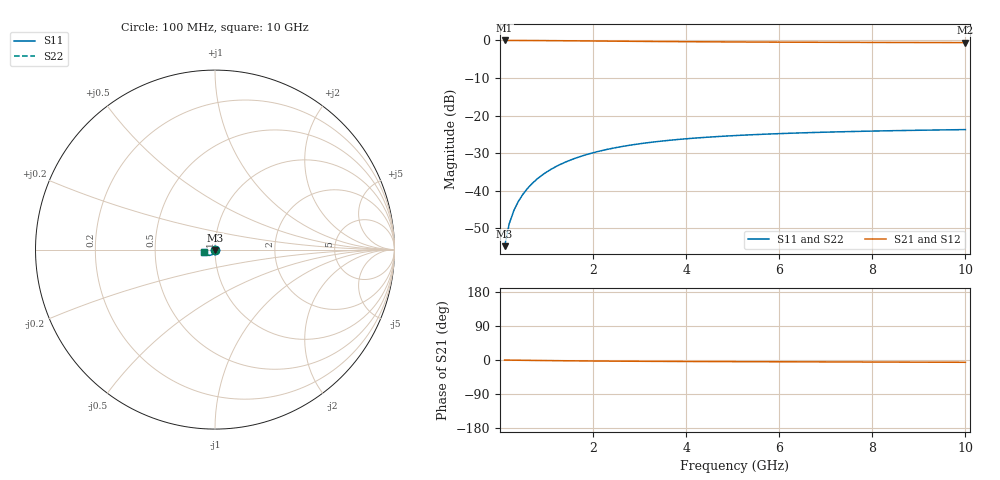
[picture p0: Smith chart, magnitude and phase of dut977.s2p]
! Touchstone file exported from HFSS 2024.1.0
!  File:  C:/UserFiles/LocalFiles/RDL_TSV_Batchsim/temp_TSV1_977_1779951672.aedt
!  Generated:  03:07:20 PM May 28, 2026
!  Design:  TSV1
!  Project:  temp_TSV1_977_1779951672
!  Setup:  Setup1
!  Solution:  Sweep
! Variables:
!  dtsv = 12.4um
!  hbump = 3um
!  htsv = 95.14um
!  lrdl = 252.1521522um
!  p = 40
!  p1 = 48.46um
!  t = 500um
!  trdl = 3um
!  wrdl = 24.89489489um
# GHz S MA R 50.000000
! Terminal data exported
! Port[1] = TSV22_T1
! Port[2] = TSV22_T2
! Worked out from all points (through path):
!   100 points, 100 MHz to 10 GHz, reference 50 ohm
!   highest |S21| = 0.00 dB at 100 MHz (marker M1); lowest = -0.6 dB at 10 GHz (marker M2)
!   lowest |S11| = -54.8 dB at 100 MHz (marker M3), VSWR 1.00, Z = 50 - j0.182 ohm
!   |S11| at or under -10 dB: start of sweep to end of sweep
!   |S22| runs from -54.8 to -23.7 dB; largest |S21 - S12| = 5.2e-15
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0.1  0.001824 -88.3  0.9998 -0.2  0.9998 -0.2  0.001824 -88.3
! Gamma 0 0 0 0
! Port Impedance 50 0 50 0
0.2  0.003645 -91.5  0.9997 -0.3  0.9997 -0.3  0.003645 -91.5
0.3  0.005463 -93.6  0.9994 -0.5  0.9994 -0.5  0.005463 -93.6
0.4  0.007275 -95.6  0.999 -0.6  0.999 -0.6  0.007275 -95.6
0.5  0.009072 -97.4  0.9985 -0.8  0.9985 -0.8  0.009072 -97.4
0.6  0.01085 -99.1  0.9979 -0.9  0.9979 -0.9  0.01085 -99.1
0.7  0.0126 -100.9  0.9973 -1.1  0.9973 -1.1  0.0126 -100.9
0.8  0.01433 -102.6  0.9966 -1.2  0.9966 -1.2  0.01433 -102.6
0.9  0.01602 -104.2  0.9957 -1.4  0.9957 -1.4  0.01602 -104.2
1.1  0.01929 -107.4  0.994 -1.6  0.994 -1.6  0.01929 -107.4
1.4  0.02391 -112.0  0.9909 -2.0  0.9909 -2.0  0.02391 -112.0
1.6  0.02677 -114.9  0.9886 -2.2  0.9886 -2.2  0.02677 -114.9
1.8  0.02945 -117.6  0.9863 -2.4  0.9863 -2.4  0.02945 -117.6
2.1  0.03315 -121.5  0.9828 -2.7  0.9828 -2.7  0.03315 -121.5
2.5  0.0375 -126.2  0.9781 -3.0  0.9781 -3.0  0.0375 -126.2
2.9  0.04124 -130.4  0.9736 -3.3  0.9736 -3.3  0.04124 -130.4
3.4  0.04519 -135.1  0.9684 -3.6  0.9684 -3.6  0.04519 -135.1
4.2  0.05017 -141.4  0.9612 -4.0  0.9612 -4.0  0.05017 -141.4
5.1  0.05434 -147.3  0.9547 -4.4  0.9547 -4.4  0.05434 -147.3
6.7  0.05939 -155.3  0.9463 -4.9  0.9463 -4.9  0.05939 -155.3
8.4  0.06282 -161.9  0.9403 -5.5  0.9403 -5.5  0.06282 -161.9
10  0.06501 -166.8  0.9364 -6.0  0.9364 -6.0  0.06501 -166.8
